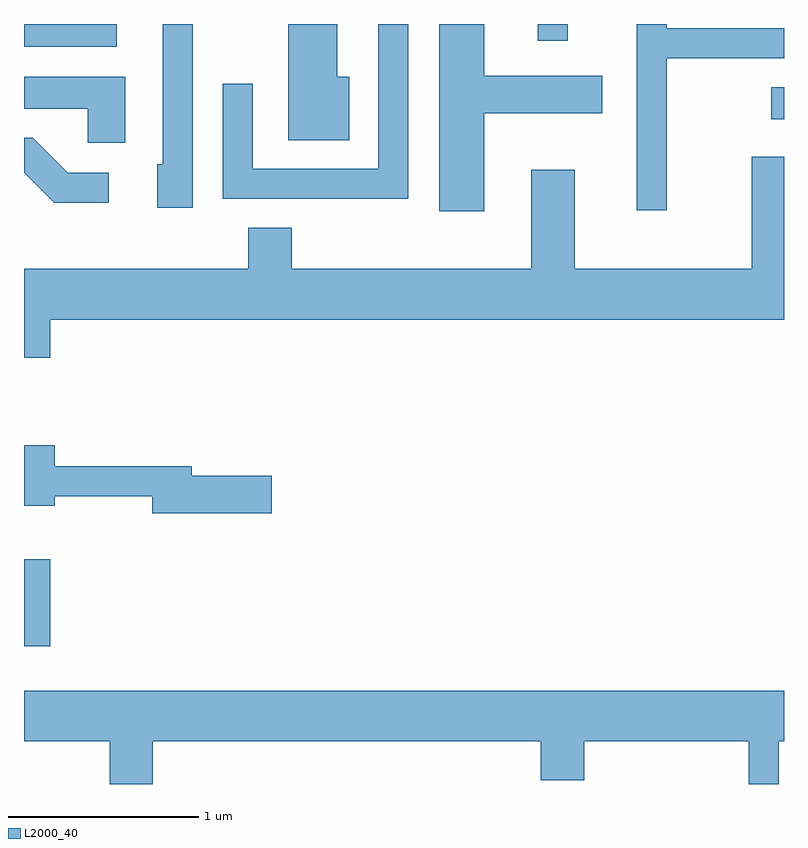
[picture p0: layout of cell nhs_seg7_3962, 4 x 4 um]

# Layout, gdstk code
import gdstk
lib = gdstk.Library(unit=1e-6, precision=1e-09)
def R(c, l, rs):  # rectangles x0, y0, x1, y1
    for r in rs: c.add(gdstk.rectangle(r[:2], r[2:], *l))
def P(c, l, *ps):  # polygons
    for p in ps: c.add(gdstk.Polygon(p, *l))
L2000_40 = (2000, 40)

nhs_seg7_3962 = lib.new_cell('nhs_seg7_3962')
R(nhs_seg7_3962, L2000_40, [(305.611,1776.976,305.749,1777.434), (309.543,1779.751,309.611,1779.919), (305.611,1780.131,306.098,1780.252), (308.316,1780.163,308.474,1780.252)])
P(nhs_seg7_3962, L2000_40, [(308.994,1780.071),(309.611,1780.071),(309.611,1780.229),(308.994,1780.229),(308.994,1780.252),(308.836,1780.252),(308.836,1779.273),(308.994,1779.273)],
  [(307.324,1779.974),(307.259,1779.974),(307.259,1780.252),(307.001,1780.252),(307.001,1779.641),(307.324,1779.641)],
  [(306.499,1780.252),(306.341,1780.252),(306.341,1779.514),(306.311,1779.514),(306.311,1779.286),(306.499,1779.286)],
  [(307.634,1780.252),(307.476,1780.252),(307.476,1779.489),(306.814,1779.489),(306.814,1779.938),(306.656,1779.938),(306.656,1779.331),(307.634,1779.331)],
  [(308.034,1779.781),(308.654,1779.781),(308.654,1779.979),(308.034,1779.979),(308.034,1780.252),(307.796,1780.252),(307.796,1779.266),(308.034,1779.266)],
  [(306.144,1779.974),(305.611,1779.974),(305.611,1779.806),(305.946,1779.806),(305.946,1779.626),(306.144,1779.626)],
  [(306.058,1779.469),(305.842,1779.469),(305.657,1779.654),(305.611,1779.654),(305.611,1779.469),(305.769,1779.311),(306.058,1779.311)],
  [(305.749,1778.696),(309.611,1778.696),(309.611,1779.554),(309.441,1779.554),(309.441,1778.964),(308.509,1778.964),(308.509,1779.484),(308.281,1779.484),(308.281,1778.964),(307.019,1778.964),(307.019,1779.179),(306.791,1779.179),(306.791,1778.964),(305.611,1778.964),(305.611,1778.496),(305.749,1778.496)],
  [(306.914,1777.874),(306.494,1777.874),(306.494,1777.924),(305.774,1777.924),(305.774,1778.034),(305.611,1778.034),(305.611,1777.716),(305.774,1777.716),(305.774,1777.766),(306.286,1777.766),(306.286,1777.676),(306.914,1777.676)],
  [(306.289,1776.476),(308.331,1776.476),(308.331,1776.271),(308.559,1776.271),(308.559,1776.476),(309.426,1776.476),(309.426,1776.252),(309.584,1776.252),(309.584,1776.476),(309.611,1776.476),(309.611,1776.744),(305.611,1776.744),(305.611,1776.476),(306.061,1776.476),(306.061,1776.252),(306.289,1776.252)])

lib.write_gds('nhs_seg7_3962.gds')
